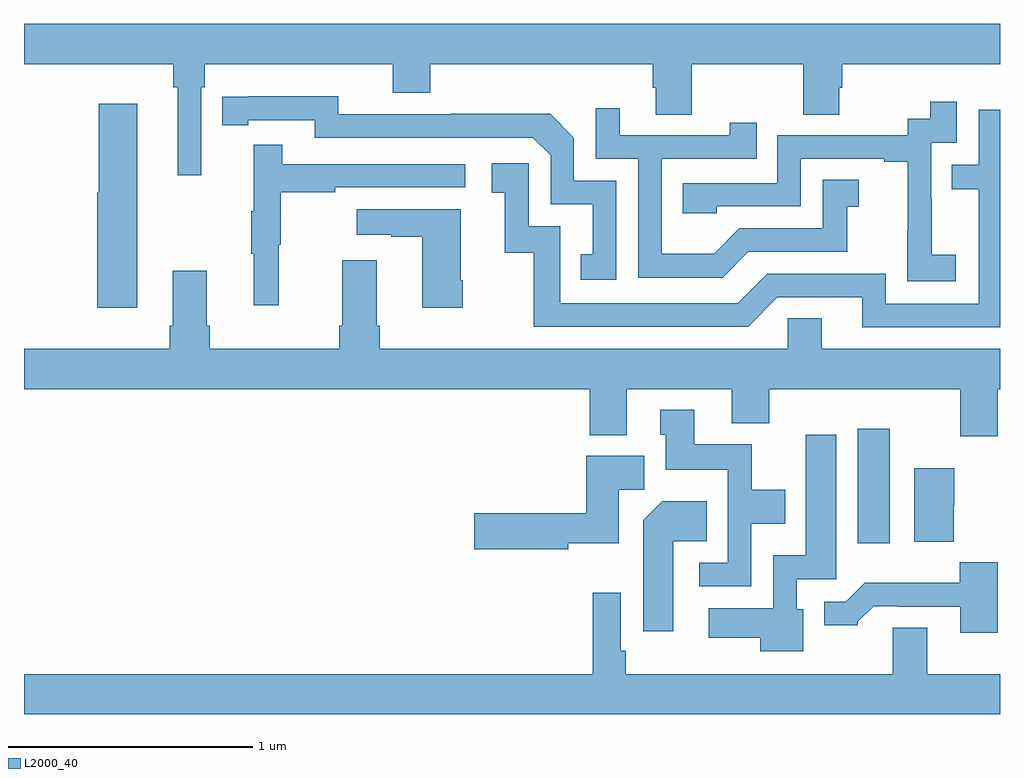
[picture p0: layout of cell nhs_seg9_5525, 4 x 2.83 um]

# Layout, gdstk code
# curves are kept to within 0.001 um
import gdstk
lib = gdstk.Library(unit=1e-6, precision=1e-09)
def R(c, l, rs):  # rectangles x0, y0, x1, y1
    for r in rs: c.add(gdstk.rectangle(r[:2], r[2:], *l))
def P(c, l, *ps):  # polygons
    for p in ps: c.add(gdstk.Polygon(p, *l))
L2000_40 = (2000, 40)

nhs_seg9_5525 = lib.new_cell('nhs_seg9_5525')
R(nhs_seg9_5525, L2000_40, [(434.417,1231.752,434.548,1232.221)])
P(nhs_seg9_5525, L2000_40, [(431.727,1233.62),(431.741,1233.62),(431.741,1233.716),(432.512,1233.716),(432.512,1233.599),(432.665,1233.599),(432.665,1233.716),(433.577,1233.716),(433.577,1233.618),(433.589,1233.618),(433.589,1233.508),(433.737,1233.508),(433.737,1233.716),(434.194,1233.716),(434.194,1233.508),(434.341,1233.508),(434.341,1233.618),(434.354,1233.618),(434.354,1233.716),(435,1233.716),(435,1233.88),(431,1233.88),(431,1233.716),(431.611,1233.716),(431.611,1233.62),(431.63,1233.62),(431.63,1233.261),(431.727,1233.261)],
  [(433.428,1233.237),(433.254,1233.237),(433.254,1233.414),(433.156,1233.512),(432.748,1233.512),(432.748,1233.51),(432.288,1233.51),(432.288,1233.583),(431.812,1233.582),(431.812,1233.466),(431.92,1233.466),(431.92,1233.486),(432.192,1233.486),(432.192,1233.414),(433.086,1233.414),(433.158,1233.342),(433.158,1233.141),(433.331,1233.141),(433.331,1232.937),(433.282,1232.937),(433.282,1232.832),(433.428,1232.832)],
  [(434.818,1232.935),(434.72,1232.935),(434.72,1233.164),(434.718,1233.164),(434.718,1233.393),(434.823,1233.393),(434.823,1233.562),(434.715,1233.562),(434.715,1233.492),(434.622,1233.492),(434.622,1233.423),(434.088,1233.423),(434.088,1233.228),(433.699,1233.228),(433.699,1233.105),(433.839,1233.105),(433.839,1233.132),(434.184,1233.132),(434.184,1233.327),(434.525,1233.327),(434.525,1233.315),(434.621,1233.315),(434.621,1233.031),(434.62,1233.031),(434.62,1232.825),(434.818,1232.825)],
  [(431.464,1233.553),(431.306,1233.553),(431.306,1233.189),(431.3,1233.189),(431.3,1232.718),(431.464,1232.718)],
  [(433.969,1232.946),(434.373,1232.946),(434.373,1233.131),(434.422,1233.131),(434.422,1233.241),(434.274,1233.241),(434.274,1233.042),(433.932,1233.042),(433.828,1232.938),(433.614,1232.938),(433.614,1233.327),(434.003,1233.327),(434.003,1233.475),(433.892,1233.475),(433.892,1233.423),(433.441,1233.423),(433.441,1233.535),(433.344,1233.535),(433.344,1233.327),(433.518,1233.327),(433.518,1232.841),(433.864,1232.841)],
  [(435,1233.528),(434.913,1233.528),(434.913,1233.303),(434.803,1233.303),(434.803,1233.202),(434.913,1233.202),(434.913,1232.733),(434.532,1232.733),(434.532,1232.856),(434.046,1232.856),(433.926,1232.736),(433.197,1232.736),(433.197,1233.051),(433.068,1233.051),(433.068,1233.31),(432.918,1233.31),(432.918,1233.189),(432.971,1233.189),(432.971,1232.943),(433.089,1232.943),(433.089,1232.64),(433.968,1232.64),(434.088,1232.76),(434.435,1232.76),(434.435,1232.637),(435,1232.637)],
  [(432.044,1232.976),(432.052,1232.976),(432.052,1233.19),(432.275,1233.19),(432.275,1233.21),(432.808,1233.21),(432.808,1233.306),(432.059,1233.306),(432.059,1233.385),(431.942,1233.385),(431.942,1233.113),(431.931,1233.113),(431.931,1232.939),(431.942,1232.939),(431.942,1232.727),(432.044,1232.727)],
  [(432.798,1232.83),(432.79,1232.83),(432.79,1233.121),(432.363,1233.121),(432.363,1233.017),(432.506,1233.017),(432.506,1233.007),(432.632,1233.007),(432.632,1232.718),(432.798,1232.718)],
  [(433.319,1232.195),(433.471,1232.195),(433.471,1232.384),(433.901,1232.384),(433.901,1232.243),(434.054,1232.243),(434.054,1232.384),(434.837,1232.384),(434.837,1232.19),(434.99,1232.19),(434.99,1232.384),(435,1232.384),(435,1232.548),(434.269,1232.548),(434.269,1232.675),(434.13,1232.675),(434.13,1232.548),(432.458,1232.548),(432.458,1232.644),(432.445,1232.644),(432.445,1232.911),(432.305,1232.911),(432.305,1232.644),(432.293,1232.644),(432.293,1232.548),(431.762,1232.548),(431.762,1232.644),(431.749,1232.644),(431.749,1232.869),(431.609,1232.869),(431.609,1232.644),(431.597,1232.644),(431.597,1232.548),(431,1232.548),(431,1232.384),(433.319,1232.384)],
  [(433.98,1231.832),(434.119,1231.832),(434.119,1231.972),(433.983,1231.972),(433.983,1232.158),(433.747,1232.158),(433.747,1232.299),(433.607,1232.299),(433.607,1232.196),(433.631,1232.196),(433.631,1232.054),(433.884,1232.054),(433.884,1231.671),(433.767,1231.671),(433.767,1231.575),(433.98,1231.575)],
  [(434.194,1231.482),(434.166,1231.482),(434.166,1231.605),(434.329,1231.605),(434.329,1232.197),(434.204,1232.197),(434.204,1231.702),(434.07,1231.702),(434.07,1231.486),(433.806,1231.486),(433.806,1231.364),(434.018,1231.364),(434.018,1231.31),(434.194,1231.31)],
  [(433.23,1231.751),(433.438,1231.751),(433.438,1231.972),(433.543,1231.972),(433.543,1232.11),(433.304,1232.11),(433.304,1231.874),(432.846,1231.874),(432.846,1231.727),(433.23,1231.727)],
  [(434.81,1231.905),(434.812,1231.905),(434.812,1232.059),(434.648,1232.059),(434.648,1231.757),(434.81,1231.757)],
  [(433.66,1231.76),(433.799,1231.76),(433.799,1231.924),(433.616,1231.924),(433.538,1231.846),(433.538,1231.392),(433.66,1231.392)],
  [(434.99,1231.675),(434.835,1231.675),(434.835,1231.591),(434.446,1231.591),(434.367,1231.512),(434.279,1231.512),(434.279,1231.415),(434.418,1231.415),(434.418,1231.43),(434.482,1231.494),(434.581,1231.494),(434.581,1231.491),(434.837,1231.491),(434.837,1231.386),(434.99,1231.386)],
  [(435,1231.216),(434.701,1231.216),(434.701,1231.406),(434.561,1231.406),(434.561,1231.216),(433.466,1231.216),(433.466,1231.312),(433.446,1231.312),(433.446,1231.549),(433.33,1231.549),(433.33,1231.216),(431,1231.216),(431,1231.052),(435,1231.052)])

lib.write_gds('nhs_seg9_5525.gds')
